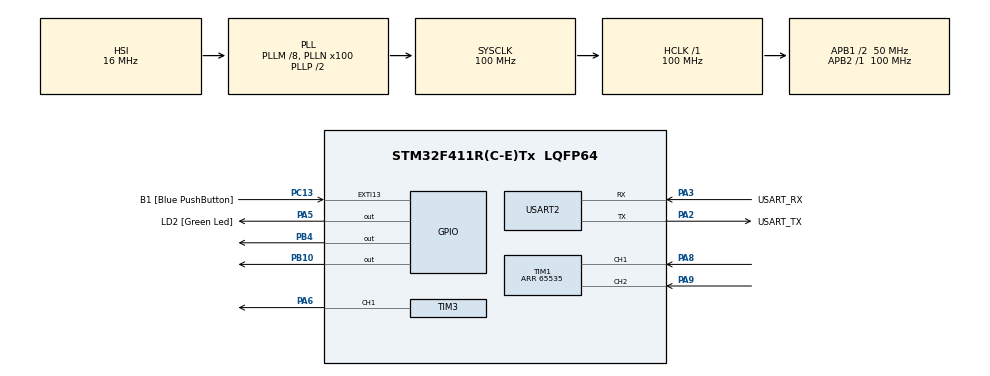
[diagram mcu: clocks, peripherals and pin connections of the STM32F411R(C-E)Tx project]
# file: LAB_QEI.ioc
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Mcu.Family=STM32F4
Mcu.Name=STM32F411R(C-E)Tx
Mcu.Package=LQFP64
NVIC.PriorityGroup=NVIC_PRIORITYGROUP_0
NVIC.TIM5_IRQn=true\:0\:0\:false\:false\:true\:true\:true
PA13.GPIO_Label=TMS
PA13.Mode=Serial_Wire
PA13.Signal=SYS_JTMS-SWDIO
PA14.GPIO_Label=TCK
PA14.Mode=Serial_Wire
PA14.Signal=SYS_JTCK-SWCLK
PA2.GPIO_Label=USART_TX
PA2.Mode=Asynchronous
PA2.Signal=USART2_TX
PA3.GPIO_Label=USART_RX
PA3.Mode=Asynchronous
PA3.Signal=USART2_RX
PA5.GPIO_Label=LD2 [Green Led]
PA5.Signal=GPIO_Output
PA6.Signal=S_TIM3_CH1
PA8.Signal=S_TIM1_CH1
PA9.Signal=S_TIM1_CH2
PB10.GPIO_ModeDefaultOutputPP=GPIO_MODE_OUTPUT_OD
PB10.GPIO_PuPd=GPIO_PULLUP
PB10.Signal=GPIO_Output
PB3.GPIO_Label=SWO
PB3.Signal=SYS_JTDO-SWO
PB4.GPIO_ModeDefaultOutputPP=GPIO_MODE_OUTPUT_OD
PB4.GPIO_PuPd=GPIO_PULLUP
PB4.Signal=GPIO_Output
PC13-ANTI_TAMP.GPIO_Label=B1 [Blue PushButton]
PC13-ANTI_TAMP.GPIO_ModeDefaultEXTI=GPIO_MODE_IT_FALLING
PC13-ANTI_TAMP.Signal=GPXTI13
PC14-OSC32_IN.Mode=LSE-External-Oscillator
PC14-OSC32_IN.Signal=RCC_OSC32_IN
PC15-OSC32_OUT.Mode=LSE-External-Oscillator
PC15-OSC32_OUT.Signal=RCC_OSC32_OUT
PH0\ -\ OSC_IN.Mode=HSE-External-Clock-Source
PH0\ -\ OSC_IN.Signal=RCC_OSC_IN
PH1\ -\ OSC_OUT.Mode=HSE-External-Clock-Source
PH1\ -\ OSC_OUT.Signal=RCC_OSC_OUT
ProjectManager.HeapSize=0x200
ProjectManager.StackSize=0x400
ProjectManager.TargetToolchain=STM32CubeIDE
RCC.48MHZClocksFreq_Value=50000000
RCC.AHBFreq_Value=100000000
RCC.APB1CLKDivider=RCC_HCLK_DIV2
RCC.APB1Freq_Value=50000000
RCC.APB1TimFreq_Value=100000000
RCC.APB2Freq_Value=100000000
RCC.APB2TimFreq_Value=100000000
RCC.CortexFreq_Value=100000000
RCC.FLatency-AdvancedSettings=FLASH_LATENCY_3
RCC.HCLKFreq_Value=100000000
RCC.HSE_VALUE=8000000
RCC.HSI_VALUE=16000000
RCC.PLLM=8
RCC.PLLN=100
RCC.SYSCLKFreq_VALUE=100000000
RCC.SYSCLKSource=RCC_SYSCLKSOURCE_PLLCLK
RCC.VCOOutputFreq_Value=200000000
SH.S_TIM1_CH1.0=TIM1_CH1,Encoder_Interface
SH.S_TIM1_CH2.0=TIM1_CH2,Encoder_Interface
SH.S_TIM3_CH1.0=TIM3_CH1,PWM Generation1 CH1
TIM1.EncoderMode=TIM_ENCODERMODE_TI12
TIM1.Period=65535
TIM3.Channel-PWM\ Generation1\ CH1=TIM_CHANNEL_1
TIM3.Period=10000
TIM3.Prescaler=99
TIM3.Pulse-PWM\ Generation1\ CH1=0
TIM5.Period=\ 4294967295
TIM5.Prescaler=99
USART2.VirtualMode=VM_ASYNC
VP_TIM3_VS_ClockSourceINT.Mode=Internal
VP_TIM5_VS_ClockSourceINT.Mode=Internal
board=NUCLEO-F411RE

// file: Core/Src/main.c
/* USER CODE BEGIN Header */
/**
  ******************************************************************************
  * @file           : main.c
  * @brief          : Main program body
  ******************************************************************************
  * @attention
  *
  * <h2><center>&copy; Copyright (c) 2021 STMicroelectronics.
  * All rights reserved.</center></h2>
  *
  * This software component is licensed by ST under BSD 3-Clause license,
  * the "License"; You may not use this file except in compliance with the
  * License. You may obtain a copy of the License at:
  *                        opensource.org/licenses/BSD-3-Clause
  *
  ******************************************************************************
  */
/* USER CODE END Header */
#include "main.h"

TIM_HandleTypeDef htim1;
TIM_HandleTypeDef htim3;
TIM_HandleTypeDef htim5;

UART_HandleTypeDef huart2;

/* USER CODE BEGIN PV */
uint64_t micros();

uint64_t _micros=0;

uint64_t encode();
uint64_t _encode=0;
void getrpm();
double w=0;
uint64_t ennow = 0;
uint64_t enpre = 0;
uint64_t tnow = 0;
uint64_t tpre = 0;
uint64_t difftime=0;
int64_t diffen=0;

double q[10]={0};
uint64_t timestamp=0;

void Pseudocode();
double err=0;
double setrpm=15;
double proportional=0;
double preerr=0;
double integral=0;
double derivative=0;
double output=1000;
double Kp=160;
double Ki =80;
double Kd =100;
uint8_t i=0;
double rpm=0;
double rpmabs=0;
void direction();

/* USER CODE END PV */

void SystemClock_Config(void);
static void MX_GPIO_Init(void);
static void MX_USART2_UART_Init(void);
static void MX_TIM1_Init(void);
static void MX_TIM3_Init(void);
static void MX_TIM5_Init(void);

int main(void)
{

  /* MCU Configuration--------------------------------------------------------*/

  /* Reset of all peripherals, Initializes the Flash interface and the Systick. */
  HAL_Init();

  /* Configure the system clock */
  SystemClock_Config();

  /* Initialize all configured peripherals */
  MX_GPIO_Init();
  MX_USART2_UART_Init();
  MX_TIM1_Init();
  MX_TIM3_Init();
  MX_TIM5_Init();
  /* USER CODE BEGIN 2 */
  HAL_TIM_Encoder_Start(&htim1, TIM_CHANNEL_ALL);
  HAL_TIM_PWM_Start(&htim3, TIM_CHANNEL_1);
  __HAL_TIM_SET_COMPARE(&htim3, TIM_CHANNEL_1, 2000);
  HAL_TIM_Base_Start_IT(&htim5);
uint64_t timestamp2=0;
  /* USER CODE END 2 */

  /* Infinite loop */
  /* USER CODE BEGIN WHILE */
  while (1)
  {
//	 if(micros()-timestamp2 >=20000){
//		 timestamp2=micros();
//	  	getrpm();
//	  	if(i<9){
//	  		i=i+1;
//	  	}else{
//	  		i=0;
//	  	}
//	}

	if(micros()-timestamp >=20000){
		timestamp=micros();
		direction();
		getrpm();
		Pseudocode();
		htim3.Instance->CCR1=(int)output;
		if(i<9){
		  	i=i+1;
		 }else{
		  	i=0;
		 }

	}
    /* USER CODE END WHILE */

  }
}

void SystemClock_Config(void)
{
  RCC_OscInitTypeDef RCC_OscInitStruct = {0};
  RCC_ClkInitTypeDef RCC_ClkInitStruct = {0};

  /** Configure the main internal regulator output voltage
  */
  __HAL_RCC_PWR_CLK_ENABLE();
  __HAL_PWR_VOLTAGESCALING_CONFIG(PWR_REGULATOR_VOLTAGE_SCALE1);
  /** Initializes the RCC Oscillators according to the specified parameters
  * in the RCC_OscInitTypeDef structure.
  */
  RCC_OscInitStruct.OscillatorType = RCC_OSCILLATORTYPE_HSI;
  RCC_OscInitStruct.HSIState = RCC_HSI_ON;
  RCC_OscInitStruct.HSICalibrationValue = RCC_HSICALIBRATION_DEFAULT;
  RCC_OscInitStruct.PLL.PLLState = RCC_PLL_ON;
  RCC_OscInitStruct.PLL.PLLSource = RCC_PLLSOURCE_HSI;
  RCC_OscInitStruct.PLL.PLLM = 8;
  RCC_OscInitStruct.PLL.PLLN = 100;
  RCC_OscInitStruct.PLL.PLLP = RCC_PLLP_DIV2;
  RCC_OscInitStruct.PLL.PLLQ = 4;
  if (HAL_RCC_OscConfig(&RCC_OscInitStruct) != HAL_OK)
  {
    Error_Handler();
  }
  /** Initializes the CPU, AHB and APB buses clocks
  */
  RCC_ClkInitStruct.ClockType = RCC_CLOCKTYPE_HCLK|RCC_CLOCKTYPE_SYSCLK
                              |RCC_CLOCKTYPE_PCLK1|RCC_CLOCKTYPE_PCLK2;
  RCC_ClkInitStruct.SYSCLKSource = RCC_SYSCLKSOURCE_PLLCLK;
  RCC_ClkInitStruct.AHBCLKDivider = RCC_SYSCLK_DIV1;
  RCC_ClkInitStruct.APB1CLKDivider = RCC_HCLK_DIV2;
  RCC_ClkInitStruct.APB2CLKDivider = RCC_HCLK_DIV1;

  if (HAL_RCC_ClockConfig(&RCC_ClkInitStruct, FLASH_LATENCY_3) != HAL_OK)
  {
    Error_Handler();
  }
}

static void MX_TIM1_Init(void)
{

  TIM_Encoder_InitTypeDef sConfig = {0};
  TIM_MasterConfigTypeDef sMasterConfig = {0};

  htim1.Instance = TIM1;
  htim1.Init.Prescaler = 0;
  htim1.Init.CounterMode = TIM_COUNTERMODE_UP;
  htim1.Init.Period = 65535;
  htim1.Init.ClockDivision = TIM_CLOCKDIVISION_DIV1;
  htim1.Init.RepetitionCounter = 0;
  htim1.Init.AutoReloadPreload = TIM_AUTORELOAD_PRELOAD_DISABLE;
  sConfig.EncoderMode = TIM_ENCODERMODE_TI12;
  sConfig.IC1Polarity = TIM_ICPOLARITY_RISING;
  sConfig.IC1Selection = TIM_ICSELECTION_DIRECTTI;
  sConfig.IC1Prescaler = TIM_ICPSC_DIV1;
  sConfig.IC1Filter = 0;
  sConfig.IC2Polarity = TIM_ICPOLARITY_RISING;
  sConfig.IC2Selection = TIM_ICSELECTION_DIRECTTI;
  sConfig.IC2Prescaler = TIM_ICPSC_DIV1;
  sConfig.IC2Filter = 0;
  if (HAL_TIM_Encoder_Init(&htim1, &sConfig) != HAL_OK)
  {
    Error_Handler();
  }
  sMasterConfig.MasterOutputTrigger = TIM_TRGO_RESET;
  sMasterConfig.MasterSlaveMode = TIM_MASTERSLAVEMODE_DISABLE;
  if (HAL_TIMEx_MasterConfigSynchronization(&htim1, &sMasterConfig) != HAL_OK)
  {
    Error_Handler();
  }

}

static void MX_TIM3_Init(void)
{

  TIM_ClockConfigTypeDef sClockSourceConfig = {0};
  TIM_MasterConfigTypeDef sMasterConfig = {0};
  TIM_OC_InitTypeDef sConfigOC = {0};

  htim3.Instance = TIM3;
  htim3.Init.Prescaler = 99;
  htim3.Init.CounterMode = TIM_COUNTERMODE_UP;
  htim3.Init.Period = 10000;
  htim3.Init.ClockDivision = TIM_CLOCKDIVISION_DIV1;
  htim3.Init.AutoReloadPreload = TIM_AUTORELOAD_PRELOAD_DISABLE;
  if (HAL_TIM_Base_Init(&htim3) != HAL_OK)
  {
    Error_Handler();
  }
  sClockSourceConfig.ClockSource = TIM_CLOCKSOURCE_INTERNAL;
  if (HAL_TIM_ConfigClockSource(&htim3, &sClockSourceConfig) != HAL_OK)
  {
    Error_Handler();
  }
  if (HAL_TIM_PWM_Init(&htim3) != HAL_OK)
  {
    Error_Handler();
  }
  sMasterConfig.MasterOutputTrigger = TIM_TRGO_RESET;
  sMasterConfig.MasterSlaveMode = TIM_MASTERSLAVEMODE_DISABLE;
  if (HAL_TIMEx_MasterConfigSynchronization(&htim3, &sMasterConfig) != HAL_OK)
  {
    Error_Handler();
  }
  sConfigOC.OCMode = TIM_OCMODE_PWM1;
  sConfigOC.Pulse = 0;
  sConfigOC.OCPolarity = TIM_OCPOLARITY_HIGH;
  sConfigOC.OCFastMode = TIM_OCFAST_DISABLE;
  if (HAL_TIM_PWM_ConfigChannel(&htim3, &sConfigOC, TIM_CHANNEL_1) != HAL_OK)
  {
    Error_Handler();
  }
  HAL_TIM_MspPostInit(&htim3);

}

static void MX_TIM5_Init(void)
{

  TIM_ClockConfigTypeDef sClockSourceConfig = {0};
  TIM_MasterConfigTypeDef sMasterConfig = {0};

  htim5.Instance = TIM5;
  htim5.Init.Prescaler = 99;
  htim5.Init.CounterMode = TIM_COUNTERMODE_UP;
  htim5.Init.Period = 4294967295;
  htim5.Init.ClockDivision = TIM_CLOCKDIVISION_DIV1;
  htim5.Init.AutoReloadPreload = TIM_AUTORELOAD_PRELOAD_DISABLE;
  if (HAL_TIM_Base_Init(&htim5) != HAL_OK)
  {
    Error_Handler();
  }
  sClockSourceConfig.ClockSource = TIM_CLOCKSOURCE_INTERNAL;
  if (HAL_TIM_ConfigClockSource(&htim5, &sClockSourceConfig) != HAL_OK)
  {
    Error_Handler();
  }
  sMasterConfig.MasterOutputTrigger = TIM_TRGO_RESET;
  sMasterConfig.MasterSlaveMode = TIM_MASTERSLAVEMODE_DISABLE;
  if (HAL_TIMEx_MasterConfigSynchronization(&htim5, &sMasterConfig) != HAL_OK)
  {
    Error_Handler();
  }

}

static void MX_USART2_UART_Init(void)
{

  huart2.Instance = USART2;
  huart2.Init.BaudRate = 115200;
  huart2.Init.WordLength = UART_WORDLENGTH_8B;
  huart2.Init.StopBits = UART_STOPBITS_1;
  huart2.Init.Parity = UART_PARITY_NONE;
  huart2.Init.Mode = UART_MODE_TX_RX;
  huart2.Init.HwFlowCtl = UART_HWCONTROL_NONE;
  huart2.Init.OverSampling = UART_OVERSAMPLING_16;
  if (HAL_UART_Init(&huart2) != HAL_OK)
  {
    Error_Handler();
  }

}

static void MX_GPIO_Init(void)
{
  GPIO_InitTypeDef GPIO_InitStruct = {0};

  /* GPIO Ports Clock Enable */
  __HAL_RCC_GPIOC_CLK_ENABLE();
  __HAL_RCC_GPIOH_CLK_ENABLE();
  __HAL_RCC_GPIOA_CLK_ENABLE();
  __HAL_RCC_GPIOB_CLK_ENABLE();

  /*Configure GPIO pin Output Level */
  HAL_GPIO_WritePin(LD2_GPIO_Port, LD2_Pin, GPIO_PIN_RESET);

  /*Configure GPIO pin Output Level */
  HAL_GPIO_WritePin(GPIOB, GPIO_PIN_10|GPIO_PIN_4, GPIO_PIN_RESET);

  /*Configure GPIO pin : B1_Pin */
  GPIO_InitStruct.Pin = B1_Pin;
  GPIO_InitStruct.Mode = GPIO_MODE_IT_FALLING;
  GPIO_InitStruct.Pull = GPIO_NOPULL;
  HAL_GPIO_Init(B1_GPIO_Port, &GPIO_InitStruct);

  /*Configure GPIO pin : LD2_Pin */
  GPIO_InitStruct.Pin = LD2_Pin;
  GPIO_InitStruct.Mode = GPIO_MODE_OUTPUT_PP;
  GPIO_InitStruct.Pull = GPIO_NOPULL;
  GPIO_InitStruct.Speed = GPIO_SPEED_FREQ_LOW;
  HAL_GPIO_Init(LD2_GPIO_Port, &GPIO_InitStruct);

  /*Configure GPIO pins : PB10 PB4 */
  GPIO_InitStruct.Pin = GPIO_PIN_10|GPIO_PIN_4;
  GPIO_InitStruct.Mode = GPIO_MODE_OUTPUT_OD;
  GPIO_InitStruct.Pull = GPIO_PULLUP;
  GPIO_InitStruct.Speed = GPIO_SPEED_FREQ_LOW;
  HAL_GPIO_Init(GPIOB, &GPIO_InitStruct);

}

/* USER CODE BEGIN 4 */
void HAL_TIM_PeriodElapsedCallback(TIM_HandleTypeDef *htim){
	static w=0;
	if (htim == &htim5){
		_micros += 4294967295;
		if(w==0){
			w=w+1;
			_micros =0;
		}
	}

}

uint64_t micros(){
	return _micros + htim5.Instance->CNT;
}

void getrpm(){

	ennow=htim1.Instance->CNT;
	tnow=micros();
	difftime=tnow-tpre;
	diffen=ennow-enpre;
	if(diffen>=32767){
		diffen=diffen-65535;
	}else if(-diffen>=32767){
		diffen=diffen+65535;
	}
	q[i]= ((q[0]+q[1]+q[2]+q[3]+q[4]+q[5]+q[6]+q[7]+q[8]+q[9]) +(double)(diffen*(1000000/(double)difftime)*(60.00/3072.00)))/11.00 ;
	rpm=(q[0]+q[1]+q[2]+q[3]+q[4]+q[5]+q[6]+q[7]+q[8]+q[9])/10;
	if(rpm<0){
		rpmabs=-1*rpm;
	}else{
		rpmabs=rpm;
	}

	enpre=ennow;
	tpre=tnow;

}

void Pseudocode(){
	static double setrpmabs=0;
	if(setrpm<0){
		setrpmabs=-1*setrpm;
	}else{
		setrpmabs=setrpm;
	}
	err=setrpmabs-rpmabs;
	proportional = err;
	integral = integral + (err*difftime/1000000);
	derivative=(err-preerr)/difftime/1000000;
	output=(Kp*proportional)+(Ki*integral)+(Kd*derivative);
//	output=output +(Kp*proportional)+(Ki*integral)+(Kd*derivative);

	preerr = err;

}
void direction(){
	if(setrpm<0){
		HAL_GPIO_WritePin(GPIOB, GPIO_PIN_10, 0);
		HAL_GPIO_WritePin(GPIOB, GPIO_PIN_4, 1);
	}else{
		HAL_GPIO_WritePin(GPIOB, GPIO_PIN_10, 1);
		HAL_GPIO_WritePin(GPIOB, GPIO_PIN_4, 0);
	}

}

/* USER CODE END 4 */

void Error_Handler(void)
{
  __disable_irq();
  while (1)
  {
  }
}

/************************ (C) COPYRIGHT STMicroelectronics *****END OF FILE****/
